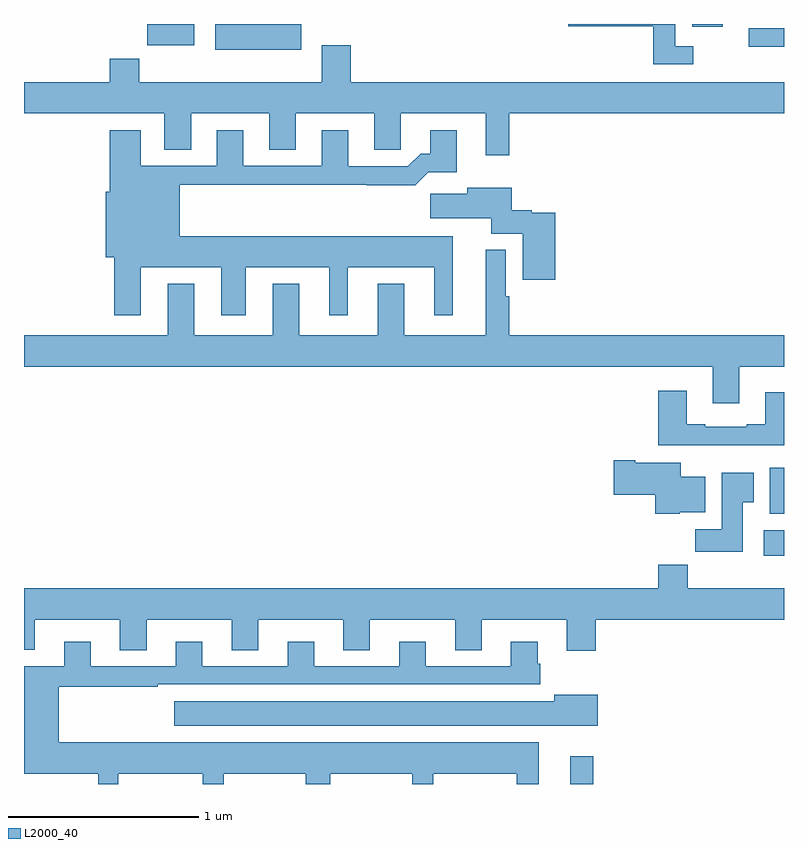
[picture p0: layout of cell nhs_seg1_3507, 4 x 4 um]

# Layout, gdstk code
import gdstk
lib = gdstk.Library(unit=1e-6, precision=1e-09)
def R(c, l, rs):  # rectangles x0, y0, x1, y1
    for r in rs: c.add(gdstk.rectangle(r[:2], r[2:], *l))
def P(c, l, *ps):  # polygons
    for p in ps: c.add(gdstk.Polygon(p, *l))
L2000_40 = (2000, 40)

nhs_seg1_3507 = lib.new_cell('nhs_seg1_3507')
R(nhs_seg1_3507, L2000_40, [(303.875,552.199,303.997,552.346), (304.893,553.4,305,553.534), (304.925,553.622,305,553.864), (304.815,556.08,305,556.176), (301.648,556.086,301.897,556.199), (304.517,556.185,304.678,556.199)])
P(nhs_seg1_3507, L2000_40, [(304.522,556.083),(304.428,556.083),(304.428,556.199),(303.864,556.199),(303.864,556.186),(304.312,556.186),(304.312,555.987),(304.522,555.987)],
  [(302.458,556.199),(302.324,556.199),(302.324,556.198),(302.007,556.198),(302.007,556.064),(302.458,556.064)],
  [(303.553,555.728),(305,555.728),(305,555.892),(302.72,555.892),(302.72,556.087),(302.567,556.087),(302.567,555.892),(301.607,555.892),(301.607,556.016),(301.451,556.016),(301.451,555.892),(301,555.892),(301,555.728),(301.739,555.728),(301.739,555.538),(301.879,555.538),(301.879,555.728),(302.291,555.728),(302.291,555.538),(302.431,555.538),(302.431,555.728),(302.843,555.728),(302.843,555.538),(302.982,555.538),(302.982,555.728),(303.431,555.728),(303.431,555.507),(303.553,555.507)],
  [(301.615,554.918),(302.039,554.918),(302.039,554.667),(302.167,554.667),(302.167,554.918),(302.606,554.918),(302.606,554.667),(302.704,554.667),(302.704,554.918),(303.158,554.918),(303.158,554.667),(303.256,554.667),(303.256,555.082),(301.819,555.082),(301.819,555.352),(302.803,555.352),(302.803,555.35),(303.059,555.35),(303.128,555.419),(303.277,555.419),(303.277,555.64),(303.137,555.64),(303.137,555.517),(303.088,555.517),(303.021,555.45),(302.707,555.45),(302.707,555.64),(302.567,555.64),(302.567,555.453),(302.155,555.453),(302.155,555.64),(302.015,555.64),(302.015,555.453),(301.615,555.453),(301.615,555.64),(301.451,555.64),(301.451,555.316),(301.43,555.316),(301.43,554.972),(301.475,554.972),(301.475,554.667),(301.615,554.667)],
  [(303.797,555.205),(303.672,555.205),(303.672,555.218),(303.568,555.218),(303.568,555.337),(303.332,555.337),(303.332,555.305),(303.138,555.305),(303.138,555.176),(303.458,555.176),(303.458,555.095),(303.626,555.095),(303.626,554.853),(303.797,554.853)],
  [(304.765,554.396),(305,554.396),(305,554.56),(303.553,554.56),(303.553,554.765),(303.535,554.765),(303.535,555.01),(303.431,555.01),(303.431,554.56),(303.001,554.56),(303.001,554.833),(302.861,554.833),(302.861,554.56),(302.449,554.56),(302.449,554.833),(302.309,554.833),(302.309,554.56),(301.897,554.56),(301.897,554.833),(301.757,554.833),(301.757,554.56),(301,554.56),(301,554.396),(304.625,554.396),(304.625,554.202),(304.765,554.202)],
  [(305,554.26),(304.901,554.26),(304.901,554.092),(304.805,554.092),(304.805,554.079),(304.585,554.079),(304.585,554.092),(304.489,554.092),(304.489,554.269),(304.337,554.269),(304.337,553.982),(305,553.982)],
  [(304.452,553.628),(304.585,553.628),(304.585,553.816),(304.456,553.816),(304.456,553.891),(304.216,553.891),(304.216,553.904),(304.104,553.904),(304.104,553.721),(304.322,553.721),(304.322,553.622),(304.452,553.622)],
  [(304.783,553.681),(304.84,553.681),(304.84,553.837),(304.673,553.837),(304.673,553.54),(304.534,553.54),(304.534,553.422),(304.783,553.422)],
  [(304.01,553.064),(305,553.064),(305,553.228),(304.493,553.228),(304.493,553.352),(304.337,553.352),(304.337,553.228),(301,553.228),(301,552.905),(301.057,552.905),(301.057,553.064),(301.505,553.064),(301.505,552.904),(301.645,552.904),(301.645,553.064),(302.093,553.064),(302.093,552.904),(302.233,552.904),(302.233,553.064),(302.681,553.064),(302.681,552.904),(302.821,552.904),(302.821,553.064),(303.269,553.064),(303.269,552.904),(303.409,552.904),(303.409,553.064),(303.857,553.064),(303.857,552.9),(304.01,552.9)],
  [(301.495,552.254),(301.94,552.254),(301.94,552.199),(302.05,552.199),(302.05,552.254),(302.483,552.254),(302.483,552.199),(302.611,552.199),(302.611,552.254),(303.044,552.254),(303.044,552.199),(303.154,552.199),(303.154,552.254),(303.593,552.254),(303.593,552.199),(303.709,552.199),(303.709,552.418),(301.183,552.418),(301.183,552.711),(301.703,552.711),(301.703,552.723),(303.716,552.723),(303.716,552.831),(303.703,552.831),(303.703,552.949),(303.563,552.949),(303.563,552.819),(303.115,552.819),(303.115,552.949),(302.975,552.949),(302.975,552.819),(302.527,552.819),(302.527,552.949),(302.387,552.949),(302.387,552.819),(301.939,552.819),(301.939,552.949),(301.799,552.949),(301.799,552.819),(301.351,552.819),(301.351,552.949),(301.211,552.949),(301.211,552.82),(301,552.82),(301,552.254),(301.391,552.254),(301.391,552.199),(301.495,552.199)],
  [(304.021,552.67),(303.791,552.67),(303.791,552.634),(301.791,552.634),(301.791,552.506),(304.021,552.506)])

lib.write_gds('nhs_seg1_3507.gds')
